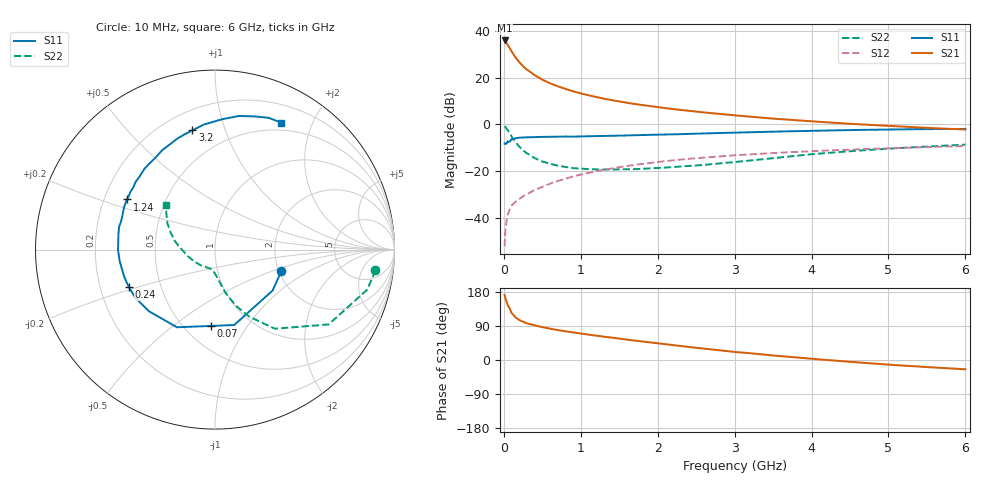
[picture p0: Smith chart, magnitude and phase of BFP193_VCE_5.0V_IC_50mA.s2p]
! (c) 2016  Infineon Technologies AG, Munich
! Infineon Technologies  Discrete & RF Semiconductors
! BFP193
! VCE = 5.0 V,  IC =  50 mA
! Common Emitter S-Parameters:  Jan 2016
# GHz  S  MA  R  50
!  f  S11  S21  S12  S22
! GHz  MAG  ANG  MAG  ANG  MAG  ANG  MAG  ANG
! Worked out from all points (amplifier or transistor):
!   210 points, 10 MHz to 6 GHz, reference 50 ohm
!   highest |S21| = 35.8 dB at 10 MHz (marker M1)
!   |S21| within 3 dB of that: start of sweep to 71.19 MHz
!   unconditionally stable (mu >= 1): 558.2 MHz to 3.896 GHz
!   at 185 MHz: K = 0.68, MSG = 29.7 dB, |S12| = -32.3 dB
!   at 1.52 GHz: K = 1.07, MAG = 12.4 dB, |S12| = -18.2 dB
!   at 6 GHz: K = 0.95, MSG = 3.5 dB, |S12| = -9.3 dB
!   S11 on the Smith chart (normalised r, x): 10 MHz: 2.06, -0.59; 70 MHz: 0.67, -0.70; 240 MHz: 0.33, -0.19; 1.24 GHz: 0.30, +0.24; 3.2 GHz: 0.32, +0.78; 6 GHz: 0.40, +1.57
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0.01  0.3884 -18.2  61.83 171.9  0.0025 86.2  0.9015 -7.4
0.02  0.3938 -35.4  58.96 163.3  0.0054 77.4  0.8773 -14.7
0.05  0.4336 -75.7  50.39 144.5  0.0118 67.9  0.7578 -33.4
0.07  0.4257 -92.8  44.12 138.0  0.0144 63.2  0.6671 -39.7
0.1  0.4819 -116.1  36.25 124.2  0.0183 58.7  0.5525 -52.9
0.15  0.5036 -137.0  27 112.5  0.0222 55.7  0.4179 -63.1
0.2  0.5191 -149.3  21.3 105.4  0.0254 56.4  0.3344 -69.5
0.24  0.5225 -156.3  18.12 101.5  0.0284 57.5  0.2875 -72.8
0.3  0.5281 -163.8  14.67 96.6  0.032 58.8  0.2403 -76.9
0.4  0.5348 -173.0  11.21 91.2  0.0394 61.2  0.1897 -81.1
0.5  0.5404 -179.6  8.989 86.6  0.0462 63.2  0.1606 -84.6
0.6  0.5411 175.2  7.532 82.6  0.0541 63.7  0.1432 -87.7
0.7  0.5453 170.5  6.492 78.9  0.0615 64.0  0.1312 -90.5
1.02  0.553 157.8  4.493 69.3  0.0859 62.8  0.1126 -99.0
1.24  0.5639 150.3  3.712 63.2  0.1028 61.0  0.1084 -106.0
1.6  0.5808 139.8  2.88 53.8  0.1291 57.1  0.1098 -117.4
2.02  0.6019 128.0  2.3 43.7  0.1585 51.9  0.1172 -132.3
3.1  0.6703 102.5  1.507 19.7  0.2232 37.8  0.1623 -170.4
3.2  0.6764 100.7  1.459 17.9  0.2283 36.6  0.1685 -173.4
4.1  0.732 85.5  1.132 1.6  0.2721 25.8  0.2371 165.6
5.1  0.7772 72.3  0.91 -13.6  0.3116 14.7  0.309 149.5
6  0.7977 62.5  0.775 -24.5  0.3444 5.2  0.368 137.7
